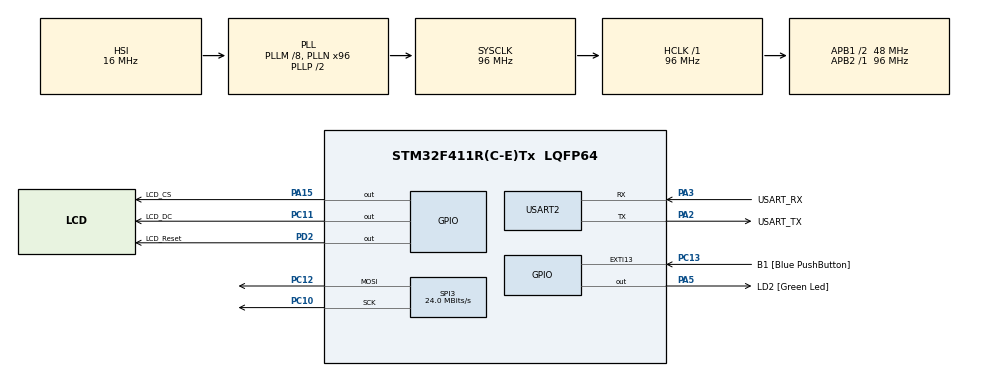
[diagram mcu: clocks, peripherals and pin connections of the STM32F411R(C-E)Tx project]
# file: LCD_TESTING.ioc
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Mcu.Family=STM32F4
Mcu.Name=STM32F411R(C-E)Tx
Mcu.Package=LQFP64
NVIC.PriorityGroup=NVIC_PRIORITYGROUP_0
PA13.GPIO_Label=TMS
PA13.Mode=Serial_Wire
PA13.Signal=SYS_JTMS-SWDIO
PA14.GPIO_Label=TCK
PA14.Mode=Serial_Wire
PA14.Signal=SYS_JTCK-SWCLK
PA15.GPIO_Label=LCD_CS
PA15.Signal=GPIO_Output
PA2.GPIO_Label=USART_TX
PA2.Mode=Asynchronous
PA2.Signal=USART2_TX
PA3.GPIO_Label=USART_RX
PA3.Mode=Asynchronous
PA3.Signal=USART2_RX
PA5.GPIO_Label=LD2 [Green Led]
PA5.Signal=GPIO_Output
PB3.GPIO_Label=SWO
PB3.Signal=SYS_JTDO-SWO
PC10.Mode=TX_Only_Simplex_Unidirect_Master
PC10.Signal=SPI3_SCK
PC11.GPIO_Label=LCD_DC
PC11.Signal=GPIO_Output
PC12.Mode=TX_Only_Simplex_Unidirect_Master
PC12.Signal=SPI3_MOSI
PC13-ANTI_TAMP.GPIO_Label=B1 [Blue PushButton]
PC13-ANTI_TAMP.GPIO_ModeDefaultEXTI=GPIO_MODE_IT_FALLING
PC13-ANTI_TAMP.Signal=GPXTI13
PC14-OSC32_IN.Mode=LSE-External-Oscillator
PC14-OSC32_IN.Signal=RCC_OSC32_IN
PC15-OSC32_OUT.Mode=LSE-External-Oscillator
PC15-OSC32_OUT.Signal=RCC_OSC32_OUT
PD2.GPIO_Label=LCD_Reset
PD2.Signal=GPIO_Output
PH0\ -\ OSC_IN.Mode=HSE-External-Clock-Source
PH0\ -\ OSC_IN.Signal=RCC_OSC_IN
PH1\ -\ OSC_OUT.Mode=HSE-External-Clock-Source
PH1\ -\ OSC_OUT.Signal=RCC_OSC_OUT
ProjectManager.HeapSize=0x200
ProjectManager.StackSize=0x400
ProjectManager.TargetToolchain=STM32CubeIDE
RCC.48MHZClocksFreq_Value=48000000
RCC.AHBFreq_Value=96000000
RCC.APB1CLKDivider=RCC_HCLK_DIV2
RCC.APB1Freq_Value=48000000
RCC.APB1TimFreq_Value=96000000
RCC.APB2Freq_Value=96000000
RCC.APB2TimFreq_Value=96000000
RCC.CortexFreq_Value=96000000
RCC.FLatency-AdvancedSettings=FLASH_LATENCY_3
RCC.HCLKFreq_Value=96000000
RCC.HSE_VALUE=8000000
RCC.HSI_VALUE=16000000
RCC.PLLM=8
RCC.PLLN=96
RCC.SYSCLKFreq_VALUE=96000000
RCC.SYSCLKSource=RCC_SYSCLKSOURCE_PLLCLK
RCC.VCOOutputFreq_Value=192000000
SPI3.BaudRatePrescaler=SPI_BAUDRATEPRESCALER_2
SPI3.CalculateBaudRate=24.0 MBits/s
SPI3.Direction=SPI_DIRECTION_2LINES
SPI3.Mode=SPI_MODE_MASTER
SPI3.VirtualType=VM_MASTER
USART2.VirtualMode=VM_ASYNC
board=NUCLEO-F411RE

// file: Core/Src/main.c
/* USER CODE BEGIN Header */
/**
  ******************************************************************************
  * @file           : main.c
  * @brief          : Main program body
  ******************************************************************************
  * @attention
  *
  * Copyright (c) 2024 STMicroelectronics.
  * All rights reserved.
  *
  * This software is licensed under terms that can be found in the LICENSE file
  * in the root directory of this software component.
  * If no LICENSE file comes with this software, it is provided AS-IS.
  *
  ******************************************************************************
  */
/* USER CODE END Header */
#include "main.h"

/* USER CODE BEGIN Includes */
#include <string.h>
#include <stdarg.h>
#include "ili9341.h"
#include "fonts.h"
#include "testimg.h"
int16_t x, y;
char buff[64];
uint16_t z=25;

/* USER CODE END Includes */

SPI_HandleTypeDef hspi3;

UART_HandleTypeDef huart2;

void SystemClock_Config(void);
static void MX_GPIO_Init(void);
static void MX_USART2_UART_Init(void);
static void MX_SPI3_Init(void);

/* USER CODE BEGIN 0 */
//FIL file; // File
//FILINFO fno;
//FRESULT fresult;  // result
//UINT br, bw;  // File read/write count
//
//typedef struct BmpHeader
//{
//uint8_t B;
//uint8_t M;
//uint32_t fsize;
//uint16_t res1;
//uint16_t res2;
//uint32_t offset;
//uint32_t hsize;
//uint32_t w;
//uint32_t h;
//uint16_t planes;
//uint16_t bpp;
//uint32_t ctype;
//uint32_t dsize;
//uint32_t hppm;
//uint32_t vppm;
//uint32_t colorsused;
//uint32_t colorreq;
//}BmpHeader;
//
//#define SPIbuffSize 264
//#define BUFFER_SIZE 1032
//#define BITMAP_HEADER_SIZE sizeof(BmpHeader)
//#define MIN(a, b) (((a)<(b))?(a): (b))
//
//char buffer[100];
//
//int bufsize (char *buf)
//{
//   int i=0;
//   while (*buf++ != '\0') i++;
//   return i;
//}
//
//int bufclear (void)
//{
//    for (int i=0; i<1024;i++)
//    {
//    	buffer[i]= '\0';
//    }
//}
//
//int displayImage(const char* fname) {
////    UART_Printf("Openning %s...\r\n", fname);
//    FIL file;
//    FRESULT res = f_open(&file, fname, FA_READ);
//    if(res != FR_OK) {
//        ILI9341_WriteString(0, 10, "f_open() failed, res = %d\r\n", Font_7x10, ILI9341_RED, ILI9341_WHITE);
//        return -1;
//    }
//
//    ILI9341_WriteString(0, 20, "File opened, reading...\r\n", Font_7x10, ILI9341_RED, ILI9341_WHITE);
//
//    unsigned int bytesRead;
//    uint8_t header[34];
//    res = f_read(&file, header, sizeof(header), &bytesRead);
//    if(res != FR_OK) {
//        ILI9341_WriteString(0, 30, "f_read() failed, res = %d\r\n", Font_7x10, ILI9341_RED, ILI9341_WHITE);
//        f_close(&file);
//        return -2;
//    }
//
//    if((header[0] != 0x42) || (header[1] != 0x4D)) {
//        ILI9341_WriteString(0, 40, "Wrong BMP signature: 0x%02X 0x%02X\r\n", Font_7x10, ILI9341_RED, ILI9341_WHITE);
//        f_close(&file);
//        return -3;
//    }
//
//    uint32_t imageOffset = header[10] | (header[11] << 8) | (header[12] << 16) | (header[13] << 24);
//    uint32_t imageWidth = header[18] | (header[19] << 8) | (header[20] << 16) | (header[21] << 24);
//    uint32_t imageHeight = header[22] | (header[23] << 8) | (header[24] << 16) | (header[25] << 24);
//    uint16_t imagePlanes = header[26] | (header[27] << 8);
//    uint16_t imageBitsPerPixel = header[28] | (header[29] << 8);
//    uint32_t imageCompression = header[30] | (header[31] << 8) | (header[32] << 16) | (header[33] << 24);
//
//    snprintf(buff, sizeof(buff), "Pixels offset: %lu\r\n ", imageOffset);
//	ILI9341_WriteString(0, 50, buff, Font_7x10, ILI9341_RED, ILI9341_WHITE);
//    snprintf(buff, sizeof(buff), "WxH: %lux%lu\r\n ", imageWidth, imageHeight);
//	ILI9341_WriteString(0, 60, buff, Font_7x10, ILI9341_RED, ILI9341_WHITE);
//    snprintf(buff, sizeof(buff), "Planes: %d\r\n ", imagePlanes);
//	ILI9341_WriteString(0, 70, buff, Font_7x10, ILI9341_RED, ILI9341_WHITE);
//    snprintf(buff, sizeof(buff), "Bits per pixel: %d\r\n ", imageBitsPerPixel);
//	ILI9341_WriteString(0, 80, buff, Font_7x10, ILI9341_RED, ILI9341_WHITE);
//    snprintf(buff, sizeof(buff), "Compression: %d\r\n ", imageCompression);
//	ILI9341_WriteString(0, 90, buff, Font_7x10, ILI9341_RED, ILI9341_WHITE);
//
//    if((imageWidth != ILI9341_WIDTH) || (imageHeight != ILI9341_HEIGHT)) {
////        UART_Printf("Wrong BMP size, %dx%d expected\r\n", ST7735_WIDTH, ST7735_HEIGHT);
//        ILI9341_WriteString(0, 100, "Wrong BMP size, %dx%d expected\r\n", Font_7x10, ILI9341_RED, ILI9341_WHITE);
//        f_close(&file);
//        return -4;
//    }
//
//    if((imagePlanes != 1) || (imageBitsPerPixel != 24) || (imageCompression != 0)) {
//        ILI9341_WriteString(0, 110, "Unsupported image format\r\n", Font_7x10, ILI9341_RED, ILI9341_WHITE);
//        f_close(&file);
//        return -5;
//    }
//
//    res = f_lseek(&file, imageOffset);
//    if(res != FR_OK) {
//
//        snprintf(buff, sizeof(buff), "f_lseek() failed, res = %d\r\n ", res);
//    	ILI9341_WriteString(0, 120, buff, Font_7x10, ILI9341_RED, ILI9341_WHITE);
//        f_close(&file);
//        return -6;
//    }
//
//    // row size is aligned to 4 bytes
//    uint8_t imageRow[(ILI9341_WIDTH * 3 + 3) & ~3];
//    for(uint32_t y = 0; y < imageHeight; y++) {
//        uint32_t rowIdx = 0;
//        res = f_read(&file, imageRow, sizeof(imageRow), &bytesRead);
//        if(res != FR_OK) {
//            snprintf(buff, sizeof(buff), "f_read() failed, res = %d\r\n", res);
//        	ILI9341_WriteString(0, 130, buff, Font_7x10, ILI9341_RED, ILI9341_WHITE);
//            f_close(&file);
//            return -7;
//        }
//
//        for(uint32_t x = 0; x < imageWidth; x++) {
//            uint8_t b = imageRow[rowIdx++];
//            uint8_t g = imageRow[rowIdx++];
//            uint8_t r = imageRow[rowIdx++];
//            uint16_t color565 = ILI9341_COLOR565(r, g, b);
//            ILI9341_DrawPixel(x, imageHeight - y - 1, color565);
//        }
//    }
//
//    res = f_close(&file);
//    if(res != FR_OK) {
////        UART_Printf("f_close() failed, res = %d\r\n", res);
//        snprintf(buff, sizeof(buff), "f_close() failed, res = %d\r\n", res);
//    	ILI9341_WriteString(0, 140, buff, Font_7x10, ILI9341_RED, ILI9341_WHITE);
//        return -8;
//    }
//
//    return 0;
//}
/* USER CODE END 0 */

int main(void)
{

  /* MCU Configuration--------------------------------------------------------*/

  /* Reset of all peripherals, Initializes the Flash interface and the Systick. */
  HAL_Init();

  /* Configure the system clock */
  SystemClock_Config();

  /* Initialize all configured peripherals */
  MX_GPIO_Init();
  MX_USART2_UART_Init();
  MX_SPI3_Init();
  /* USER CODE BEGIN 2 */
  ILI9341_Unselect();
  ILI9341_Init();
  /* USER CODE END 2 */

  /* Infinite loop */
  while (1)
  {

    /* USER CODE BEGIN 3 */
//	  displayImage("bluetooth.bmp");
//	  HAL_Delay(1000);
		ILI9341_FillScreen(ILI9341_BLACK);
		for(int x = 0; x < ILI9341_WIDTH; x++) {
		    ILI9341_DrawPixel(x, 0, ILI9341_RED);
		    ILI9341_DrawPixel(x, ILI9341_HEIGHT-1, ILI9341_RED);
		}

		for(int y = 0; y < ILI9341_HEIGHT; y++) {
		    ILI9341_DrawPixel(0, y, ILI9341_RED);
		    ILI9341_DrawPixel(ILI9341_WIDTH-1, y, ILI9341_RED);
		}
		HAL_Delay(1000);

		// Check font
		ILI9341_FillScreen(ILI9341_BLACK);
		ILI9341_WriteString(0, 0,"Font_7x10, HELLO", Font_7x10, ILI9341_RED,ILI9341_BLACK);
		ILI9341_WriteString(0,3*10,"Font_11x18,HELLO",Font_11x18,ILI9341_GREEN,ILI9341_BLACK);
		ILI9341_WriteString(0,3*20,"Font_16x26,HELLO",Font_16x26,ILI9341_BLUE,ILI9341_BLACK);

		HAL_Delay(1000);
		ILI9341_InvertColors(true);
		HAL_Delay(1000);
		ILI9341_InvertColors(false);

		HAL_Delay(5000);

		// Check colors
		ILI9341_FillScreen(ILI9341_WHITE);
		ILI9341_WriteString(0, 0, "WHITE", Font_11x18, ILI9341_BLACK, ILI9341_WHITE);
		HAL_Delay(500);

		ILI9341_FillScreen(ILI9341_BLUE);
		ILI9341_WriteString(0, 0, "BLUE", Font_11x18, ILI9341_BLACK, ILI9341_BLUE);
		HAL_Delay(500);

		ILI9341_FillScreen(ILI9341_RED);
		ILI9341_WriteString(0, 0, "RED", Font_11x18, ILI9341_BLACK, ILI9341_RED);
		HAL_Delay(500);

		ILI9341_FillScreen(ILI9341_GREEN);
		ILI9341_WriteString(0, 0, "GREEN", Font_11x18, ILI9341_BLACK, ILI9341_GREEN);
		HAL_Delay(500);

		ILI9341_FillScreen(ILI9341_CYAN);
		ILI9341_WriteString(0, 0, "CYAN", Font_11x18, ILI9341_BLACK, ILI9341_CYAN);
		HAL_Delay(500);

		ILI9341_FillScreen(ILI9341_MAGENTA);
		ILI9341_WriteString(0, 0, "MAGENTA", Font_11x18, ILI9341_BLACK, ILI9341_MAGENTA);
		HAL_Delay(500);

		ILI9341_FillScreen(ILI9341_YELLOW);
		ILI9341_WriteString(0, 0, "YELLOW", Font_11x18, ILI9341_BLACK, ILI9341_YELLOW);
		HAL_Delay(500);

		ILI9341_FillScreen(ILI9341_BLACK);
		ILI9341_WriteString(0, 0, "BLACK", Font_11x18, ILI9341_WHITE, ILI9341_BLACK);
		HAL_Delay(500);

		ILI9341_DrawImage((ILI9341_WIDTH - 240)/2,(ILI9341_HEIGHT-240)/2,240,240,
		(const uint16_t*)test_img_240x240);
		HAL_Delay(3000);
  }
  /* USER CODE END 3 */
}

void SystemClock_Config(void)
{
  RCC_OscInitTypeDef RCC_OscInitStruct = {0};
  RCC_ClkInitTypeDef RCC_ClkInitStruct = {0};

  /** Configure the main internal regulator output voltage
  */
  __HAL_RCC_PWR_CLK_ENABLE();
  __HAL_PWR_VOLTAGESCALING_CONFIG(PWR_REGULATOR_VOLTAGE_SCALE1);

  /** Initializes the RCC Oscillators according to the specified parameters
  * in the RCC_OscInitTypeDef structure.
  */
  RCC_OscInitStruct.OscillatorType = RCC_OSCILLATORTYPE_HSI;
  RCC_OscInitStruct.HSIState = RCC_HSI_ON;
  RCC_OscInitStruct.HSICalibrationValue = RCC_HSICALIBRATION_DEFAULT;
  RCC_OscInitStruct.PLL.PLLState = RCC_PLL_ON;
  RCC_OscInitStruct.PLL.PLLSource = RCC_PLLSOURCE_HSI;
  RCC_OscInitStruct.PLL.PLLM = 8;
  RCC_OscInitStruct.PLL.PLLN = 96;
  RCC_OscInitStruct.PLL.PLLP = RCC_PLLP_DIV2;
  RCC_OscInitStruct.PLL.PLLQ = 4;
  if (HAL_RCC_OscConfig(&RCC_OscInitStruct) != HAL_OK)
  {
    Error_Handler();
  }

  /** Initializes the CPU, AHB and APB buses clocks
  */
  RCC_ClkInitStruct.ClockType = RCC_CLOCKTYPE_HCLK|RCC_CLOCKTYPE_SYSCLK
                              |RCC_CLOCKTYPE_PCLK1|RCC_CLOCKTYPE_PCLK2;
  RCC_ClkInitStruct.SYSCLKSource = RCC_SYSCLKSOURCE_PLLCLK;
  RCC_ClkInitStruct.AHBCLKDivider = RCC_SYSCLK_DIV1;
  RCC_ClkInitStruct.APB1CLKDivider = RCC_HCLK_DIV2;
  RCC_ClkInitStruct.APB2CLKDivider = RCC_HCLK_DIV1;

  if (HAL_RCC_ClockConfig(&RCC_ClkInitStruct, FLASH_LATENCY_3) != HAL_OK)
  {
    Error_Handler();
  }
}

static void MX_SPI3_Init(void)
{

  /* SPI3 parameter configuration*/
  hspi3.Instance = SPI3;
  hspi3.Init.Mode = SPI_MODE_MASTER;
  hspi3.Init.Direction = SPI_DIRECTION_2LINES;
  hspi3.Init.DataSize = SPI_DATASIZE_8BIT;
  hspi3.Init.CLKPolarity = SPI_POLARITY_LOW;
  hspi3.Init.CLKPhase = SPI_PHASE_1EDGE;
  hspi3.Init.NSS = SPI_NSS_SOFT;
  hspi3.Init.BaudRatePrescaler = SPI_BAUDRATEPRESCALER_2;
  hspi3.Init.FirstBit = SPI_FIRSTBIT_MSB;
  hspi3.Init.TIMode = SPI_TIMODE_DISABLE;
  hspi3.Init.CRCCalculation = SPI_CRCCALCULATION_DISABLE;
  hspi3.Init.CRCPolynomial = 10;
  if (HAL_SPI_Init(&hspi3) != HAL_OK)
  {
    Error_Handler();
  }

}

static void MX_USART2_UART_Init(void)
{

  huart2.Instance = USART2;
  huart2.Init.BaudRate = 115200;
  huart2.Init.WordLength = UART_WORDLENGTH_8B;
  huart2.Init.StopBits = UART_STOPBITS_1;
  huart2.Init.Parity = UART_PARITY_NONE;
  huart2.Init.Mode = UART_MODE_TX_RX;
  huart2.Init.HwFlowCtl = UART_HWCONTROL_NONE;
  huart2.Init.OverSampling = UART_OVERSAMPLING_16;
  if (HAL_UART_Init(&huart2) != HAL_OK)
  {
    Error_Handler();
  }

}

static void MX_GPIO_Init(void)
{
  GPIO_InitTypeDef GPIO_InitStruct = {0};

  /* GPIO Ports Clock Enable */
  __HAL_RCC_GPIOC_CLK_ENABLE();
  __HAL_RCC_GPIOH_CLK_ENABLE();
  __HAL_RCC_GPIOA_CLK_ENABLE();
  __HAL_RCC_GPIOD_CLK_ENABLE();
  __HAL_RCC_GPIOB_CLK_ENABLE();

  /*Configure GPIO pin Output Level */
  HAL_GPIO_WritePin(GPIOA, LD2_Pin|LCD_CS_Pin, GPIO_PIN_RESET);

  /*Configure GPIO pin Output Level */
  HAL_GPIO_WritePin(LCD_DC_GPIO_Port, LCD_DC_Pin, GPIO_PIN_RESET);

  /*Configure GPIO pin Output Level */
  HAL_GPIO_WritePin(LCD_Reset_GPIO_Port, LCD_Reset_Pin, GPIO_PIN_RESET);

  /*Configure GPIO pin : B1_Pin */
  GPIO_InitStruct.Pin = B1_Pin;
  GPIO_InitStruct.Mode = GPIO_MODE_IT_FALLING;
  GPIO_InitStruct.Pull = GPIO_NOPULL;
  HAL_GPIO_Init(B1_GPIO_Port, &GPIO_InitStruct);

  /*Configure GPIO pins : LD2_Pin LCD_CS_Pin */
  GPIO_InitStruct.Pin = LD2_Pin|LCD_CS_Pin;
  GPIO_InitStruct.Mode = GPIO_MODE_OUTPUT_PP;
  GPIO_InitStruct.Pull = GPIO_NOPULL;
  GPIO_InitStruct.Speed = GPIO_SPEED_FREQ_LOW;
  HAL_GPIO_Init(GPIOA, &GPIO_InitStruct);

  /*Configure GPIO pin : LCD_DC_Pin */
  GPIO_InitStruct.Pin = LCD_DC_Pin;
  GPIO_InitStruct.Mode = GPIO_MODE_OUTPUT_PP;
  GPIO_InitStruct.Pull = GPIO_NOPULL;
  GPIO_InitStruct.Speed = GPIO_SPEED_FREQ_LOW;
  HAL_GPIO_Init(LCD_DC_GPIO_Port, &GPIO_InitStruct);

  /*Configure GPIO pin : LCD_Reset_Pin */
  GPIO_InitStruct.Pin = LCD_Reset_Pin;
  GPIO_InitStruct.Mode = GPIO_MODE_OUTPUT_PP;
  GPIO_InitStruct.Pull = GPIO_NOPULL;
  GPIO_InitStruct.Speed = GPIO_SPEED_FREQ_LOW;
  HAL_GPIO_Init(LCD_Reset_GPIO_Port, &GPIO_InitStruct);

}

void Error_Handler(void)
{
  __disable_irq();
  while (1)
  {
  }
}
